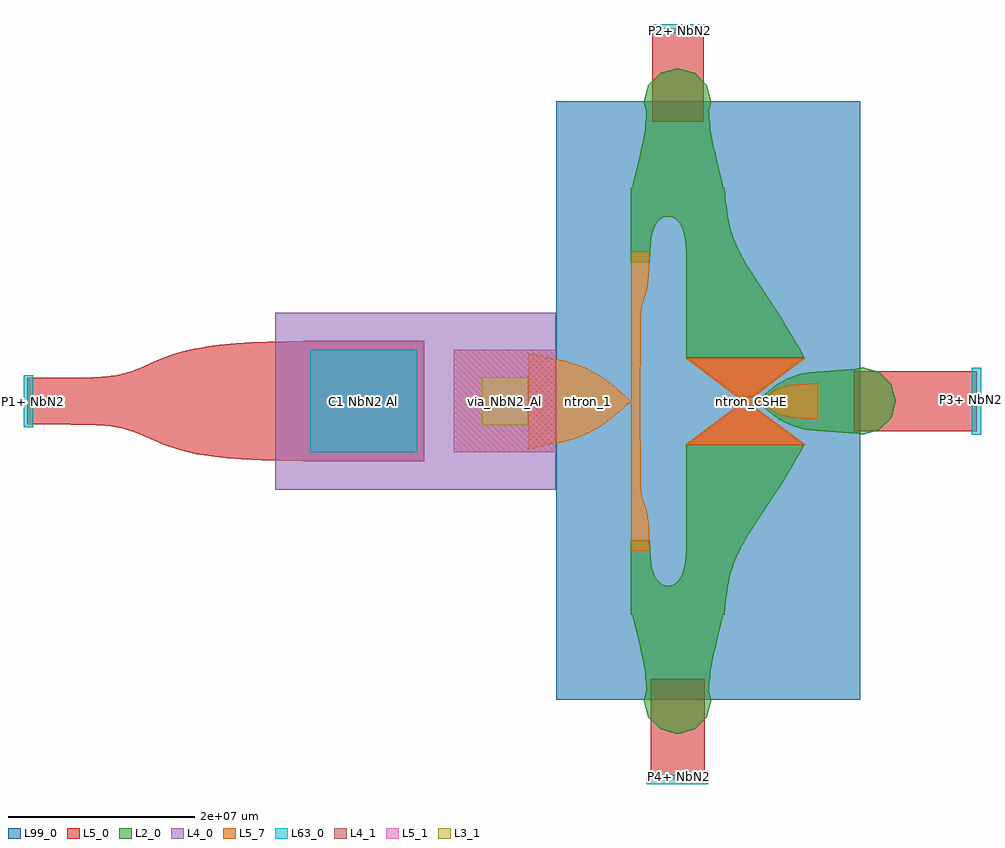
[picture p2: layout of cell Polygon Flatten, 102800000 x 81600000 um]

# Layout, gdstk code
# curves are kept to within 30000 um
import gdstk
lib = gdstk.Library(unit=1e-6, precision=1e-06)
def R(c, l, rs):  # rectangles x0, y0, x1, y1
    for r in rs: c.add(gdstk.rectangle(r[:2], r[2:], *l))
def P(c, l, *ps):  # polygons
    for p in ps: c.add(gdstk.Polygon(p, *l))
L2_0 = (2, 0)
L3_1 = (3, 1)
L4_0 = (4, 0)
L4_1 = (4, 1)
L5_0 = (5, 0)
L5_1 = (5, 1)
L5_7 = (5, 7)
L63_0 = (63, 0)
L99_0 = (99, 0)

polygon_flatten = lib.new_cell('Polygon Flatten')
P(polygon_flatten, L2_0, [(-6365000,-22935000),(-6365000,-4678000),(6312000,-4678000),(5509000,-6151000),(4380000,-8057000),(97000,-14687000),(-835000,-16433000),(-1446000,-17978000),(-1830000,-19458000),(-2049000,-20831000),(-2229000,-22935000)],
  [(-6365000,22945000),(-6365000,4688000),(6312000,4688000),(5509000,6161000),(4380000,8067000),(97000,14697000),(-835000,16443000),(-1446000,17988000),(-1830000,19468000),(-2049000,20841000),(-2229000,22945000)],
  [(-12315000,-14935000),(-10287000,-14935000),(-10234000,-16313000),(-10144000,-17254000),(-10018000,-17952000),(-9802000,-18626000),(-9442000,-19236000),(-9097000,-19561000),(-8670000,-19767000),(-8235000,-19815000),(-7774000,-19699000),(-7379000,-19437000),(-7071000,-19078000),(-6756000,-18443000),(-6570000,-17759000),(-6461000,-17059000),(-6343000,-14935000),(-4315000,-14935000),(-4315000,-22935000),(-12315000,-22935000)],
  [(-12315000,14945000),(-10287000,14945000),(-10234000,16323000),(-10144000,17264000),(-10018000,17962000),(-9802000,18636000),(-9442000,19246000),(-9097000,19571000),(-8670000,19777000),(-8235000,19825000),(-7774000,19709000),(-7379000,19447000),(-7071000,19088000),(-6756000,18453000),(-6570000,17769000),(-6461000,17069000),(-6343000,14945000),(-4315000,14945000),(-4315000,22945000),(-12315000,22945000)],
  [(-3667000,-32110000),(-4152000,-33921000),(-5478000,-35248000),(-7290000,-35733000),(-9101000,-35248000),(-10428000,-33921000),(-10913000,-32110000),(-10428000,-30298000),(-9102000,-28972000),(-7290000,-28487000),(-5478000,-28972000),(-4152000,-30298000)],
  [(-3667000,32120000),(-4152000,33931000),(-5478000,35258000),(-7290000,35743000),(-9101000,35258000),(-10428000,33931000),(-10913000,32120000),(-10428000,30308000),(-9102000,28982000),(-7290000,28497000),(-5478000,28982000),(-4152000,30308000)],
  [(-2409000,-22756000),(-12159000,-22756000),(-11913000,-24041000),(-11176000,-27048000),(-10916000,-28344000),(-10747000,-29634000),(-10615000,-31541000),(-3953000,-31541000),(-3821000,-29634000),(-3652000,-28344000),(-3392000,-27048000),(-2750000,-24467000)],
  [(16128000,0),(15643000,1811000),(14317000,3138000),(12505000,3623000),(10694000,3138000),(9367000,1811000),(8882000,0),(9367000,-1812000),(10693000,-3138000),(12505000,-3623000),(14317000,-3138000),(15643000,-1812000)],
  [(11878000,-3500000),(11878000,3500000),(6889000,3129000),(5691000,2868000),(4728000,2536000),(3865000,2106000),(3045000,1557000),(1695000,447000),(1521000,343000),(1128000,259000),(1128000,-259000),(1521000,-343000),(1695000,-447000),(3045000,-1557000),(3865000,-2106000),(4506000,-2438000),(5303000,-2750000),(6191000,-2994000),(6889000,-3129000)],
  [(-2409000,22866000),(-12159000,22866000),(-11913000,24151000),(-11176000,27158000),(-10916000,28454000),(-10747000,29744000),(-10615000,31651000),(-3953000,31651000),(-3821000,29744000),(-3652000,28454000),(-3392000,27158000),(-2750000,24577000)])
R(polygon_flatten, L3_1, [(-28286000,-2511000,-23317000,2568000)])
R(polygon_flatten, L4_0, [(-50479000,-9493000,-20357000,9492000)])
R(polygon_flatten, L4_1, [(-31319000,-5507000,-20357000,5527000)])
R(polygon_flatten, L5_0, [(-10200000,-40600000,-4400000,-29800000), (-47490000,-6458000,-34490000,6495000), (11600000,-3200000,24800000,3200000), (-10000000,30000000,-4500000,40000000)])
P(polygon_flatten, L5_0, [(-6365000,-4685000),(6315000,-4685000),(6315000,-4679000),(663000,-440000),(-723000,-440000),(-6365000,-4672000)],
  [(-723000,450000),(663000,450000),(6315000,4689000),(6315000,4695000),(-6365000,4695000),(-6365000,4682000)],
  [(-47410000,-6440000),(-47410000,6456000),(-51358000,6374000),(-54713000,6206000),(-56455000,6049000),(-58471000,5766000),(-59917000,5466000),(-61278000,5086000),(-62454000,4671000),(-65883000,3233000),(-66922000,2924000),(-68129000,2710000),(-69196000,2612000),(-71446000,2533000),(-77119000,2508000),(-77119000,-2492000),(-72466000,-2505000),(-69654000,-2570000),(-68129000,-2694000),(-67282000,-2829000),(-66220000,-3103000),(-65058000,-3540000),(-63173000,-4364000),(-61810000,-4892000),(-60240000,-5369000),(-58905000,-5670000),(-56995000,-5970000),(-54070000,-6234000),(-51988000,-6336000)])
R(polygon_flatten, L5_1, [(-31319000,-5507000,-20357000,5527000)])
R(polygon_flatten, L5_7, [(-350000,-350000,350000,350000)])
P(polygon_flatten, L5_7, [(-23346000,5200000),(-23346000,-5200000),(-21116000,-4661000),(-19654000,-4384000),(-18714000,-4136000),(-17058000,-3515000),(-15909000,-2903000),(-14988000,-2290000),(-13938000,-1457000),(-12437000,-92000),(-12286000,-28000),(-12286000,28000),(-12437000,92000),(-13938000,1457000),(-14988000,2290000),(-15909000,2903000),(-17058000,3515000),(-18714000,4136000),(-19654000,4384000),(-21116000,4661000)],
  [(-12286000,0),(-12286000,-16090000),(-10298000,-16090000),(-10361000,-13778000),(-10461000,-12693000),(-10616000,-11849000),(-11130000,-10105000),(-11239000,-9308000),(-11286000,0)],
  [(-12286000,16090000),(-12286000,0),(-11286000,0),(-11282000,7690000),(-11235000,9359000),(-11130000,10105000),(-10616000,11849000),(-10461000,12693000),(-10338000,14243000),(-10298000,16090000)],
  [(-525000,515000),(575000,515000),(4025000,3865000),(-3975000,3865000)],
  [(-3975000,-3815000),(4025000,-3815000),(575000,-465000),(-525000,-465000)],
  [(-6500000,-4700000),(6434000,-4700000),(472000,-237000),(319000,-200000),(-385000,-200000),(-538000,-237000)],
  [(-334000,200000),(334000,200000),(531000,276000),(6400000,4600000),(-6400000,4600000),(-479000,237000)],
  [(-1000000,-750000),(1000000,-750000),(800000,-500000),(400000,-400000),(-400000,-400000),(-800000,-500000)],
  [(-400000,400000),(400000,400000),(800000,500000),(1000000,750000),(-1000000,750000),(-800000,500000)],
  [(-5833000,-4375000),(5833000,-4375000),(1000000,-750000),(-1000000,-750000)],
  [(-1072000,550000),(1005000,550000),(6333000,4600000),(-6400000,4600000)],
  [(7783000,-2004000),(7783000,1996000),(5269000,1833000),(4187000,1618000),(3685000,1440000),(3215000,1207000),(1852000,194000),(1454000,147000),(-617000,146000),(-617000,-154000),(1454000,-155000),(1852000,-202000),(3215000,-1215000),(3685000,-1448000),(4438000,-1693000),(5269000,-1841000)])
R(polygon_flatten, L63_0, [(-10600000,-41100000,-4000000,-40100000), (-46738000,-5500000,-35238000,5500000), (24300000,-3600000,25300000,3600000), (-77500000,-2800000,-76500000,2800000), (-10400000,39500000,-4200000,40500000)])
R(polygon_flatten, L99_0, [(-20355000,-32080000,12290000,32200000)])
polygon_flatten.add(gdstk.Label('P4+ NbN2', (-7100000,-40300000), layer=64, texttype=0))
polygon_flatten.add(gdstk.Label('P3+ NbN2', (24500000,200000), layer=64, texttype=0))
polygon_flatten.add(gdstk.Label('P2+ NbN2', (-7000000,39800000), layer=64, texttype=0))
polygon_flatten.add(gdstk.Label('P1+ NbN2', (-76800000,0), layer=64, texttype=0))
polygon_flatten.add(gdstk.Label('C1 NbN2 Al', (-41000000,0), layer=64, texttype=0))
polygon_flatten.add(gdstk.Label('ntron_1', (-16822000,-10), layer=64, texttype=0))
polygon_flatten.add(gdstk.Label('ntron_CSHE', (641510,-50000), layer=64, texttype=0))
polygon_flatten.add(gdstk.Label('via_NbN2_Al', (-25837990,10000), layer=64, texttype=0))

lib.write_gds('Polygon_Flatten.gds')
